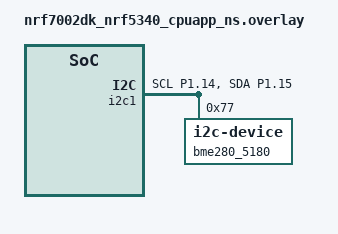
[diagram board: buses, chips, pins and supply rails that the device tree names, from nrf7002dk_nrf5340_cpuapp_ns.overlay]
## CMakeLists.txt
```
# SPDX-License-Identifier: Apache-2.0

cmake_minimum_required(VERSION 3.20.0)
find_package(Zephyr REQUIRED HINTS $ENV{ZEPHYR_BASE})
project(blinky)

target_sources(app PRIVATE
    src/main.c
    bme280/bme280.c
    bme280/bme280_logic.c
)

target_include_directories(app PRIVATE bme280)

if(CONFIG_SUM_PRINT)
    target_sources(app PRIVATE sum_printk/sum_printk.c)
    target_include_directories(app PRIVATE sum_printk)
elseif(CONFIG_SUM_LOG)
    target_sources(app PRIVATE sum_log/sum_log.c)
    target_include_directories(app PRIVATE sum_log)
endif()
```

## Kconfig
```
mainmenu "ESE5180 Lab 0"

choice
    prompt "Sum output method"
    default SUM_PRINT

config SUM_PRINT
    bool "Use printk for sum output"

config SUM_LOG
    bool "Use logger for sum output"

endchoice

source "Kconfig.zephyr"
```

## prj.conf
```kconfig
CONFIG_GPIO=y

CONFIG_CONSOLE=y
CONFIG_UART_CONSOLE=y
CONFIG_PRINTK=y

CONFIG_LOG=y
CONFIG_LOG_DEFAULT_LEVEL=3
CONFIG_SUM_LOG=y

CONFIG_SENSOR=y
CONFIG_I2C=y

# UARTE1 and TWIM1 share the SERIAL1 hardware instance on the nRF5340.
# Disable TF-M secure logging so the non-secure application can use TWIM1/I2C1.
CONFIG_TFM_LOG_LEVEL_SILENCE=y
```

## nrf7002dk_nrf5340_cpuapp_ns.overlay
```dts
/delete-node/ &boot_partition;
/delete-node/ &slot0_partition;
/delete-node/ &slot1_partition;

&flash0 {
	partitions {
		/* Primary image area, based at 0x0, sized to 960KB */
		slot0_partition: partition@0 {
			compatible = "zephyr,mapped-partition";
			label = "image-0";
			reg = <0x00000000 0xf0000>;
			ranges = <0x0 0x0 0xf0000>;
			#address-cells = <1>;
			#size-cells = <1>;

			slot0_s_partition: partition@0 {
				compatible = "zephyr,mapped-partition";
				label = "image-0-secure";
				reg = <0x00000000 0x40000>; /* 256 KB TF-M secure */
			};

			slot0_ns_partition: partition@40000 {
				compatible = "zephyr,mapped-partition";
				label = "image-0-nonsecure";
				reg = <0x00040000 0xb0000>; /* 704 KB non-secure app */
			};
		};
	};
};


/{
	aliases {
		led5180 = &led1;
		button5180 = &button0;
	};
};

&i2c1 {
        status = "okay";
        pinctrl-0 = <&i2c1_default>;
        pinctrl-1 = <&i2c1_sleep>;
        pinctrl-names = "default", "sleep";

        bme280_5180: bme280_5180@77 {
                compatible = "i2c-device";
                status = "okay";
                reg = <0x77>;
        };
};

&pinctrl {
        /omit-if-no-ref/ i2c1_default: i2c1_default {
                group1 {
                        psels = <NRF_PSEL(TWIM_SCL, 1, 14)>,
                                <NRF_PSEL(TWIM_SDA, 1, 15)>;
                };
        };

        /omit-if-no-ref/ i2c1_sleep: i2c1_sleep {
                group1 {
                        psels = <NRF_PSEL(TWIM_SCL, 1, 14)>,
                                <NRF_PSEL(TWIM_SDA, 1, 15)>;
                        low-power-enable;
                };
        };
};
```

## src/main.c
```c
/*
 * Copyright (c) 2016 Intel Corporation
 *
 * SPDX-License-Identifier: Apache-2.0
 */

#include <stdio.h>
#include <zephyr/kernel.h>
#include <zephyr/drivers/gpio.h>
#include <zephyr/drivers/i2c.h>

#include "bme280.h"

#ifdef CONFIG_SUM_PRINT
#include "sum_printk.h"
#elif defined(CONFIG_SUM_LOG)
#include "sum_log.h"
#endif

/* 1000 msec = 1 sec */
#define SLEEP_TIME_MS   2000
#define BUTTON_POLL_MS  50

/* The devicetree node identifier for the "led0" alias. */
#define LED5180_NODE DT_ALIAS(led5180)
#define BUTTON5180_NODE DT_ALIAS(button5180)

/*
 * A build error on this line means your board is unsupported.
 * See the sample documentation for information on how to fix this.
 */
static const struct gpio_dt_spec led = GPIO_DT_SPEC_GET(LED5180_NODE, gpios);
static const struct gpio_dt_spec button = GPIO_DT_SPEC_GET(BUTTON5180_NODE, gpios);

int main(void)
{
	int ret;
	bool button_was_pressed = false;
	int64_t next_sample_time;
	int32_t temperature_centi_c;

	int result = sum(10, 20);
	(void)result;

	if (!gpio_is_ready_dt(&led)) {
		printk("LED GPIO is not ready\n");
		return 0;
	}

	if (!gpio_is_ready_dt(&button)) {
		printk("Button GPIO is not ready\n");
		return 0;
	}

	ret = gpio_pin_configure_dt(&led, GPIO_OUTPUT_INACTIVE);
	if (ret < 0) {
		printk("Failed to configure LED: %d\n", ret);
		return 0;
	}

	ret = gpio_pin_configure_dt(&button, GPIO_INPUT);
	if (ret < 0) {
		printk("Failed to configure button: %d\n", ret);
		return 0;
	}

	ret = bme280_init();
	if (ret < 0) {
		printk("Failed to initialize BME280: %d\n", ret);
		return 0;
	}

	next_sample_time = k_uptime_get();

	while (1) {
		int button_pressed = gpio_pin_get_dt(&button);

		if (button_pressed < 0) {
			printk("Failed to read button: %d\n", button_pressed);
			return 0;
		}

		if (button_pressed && !button_was_pressed) {
			ret = gpio_pin_toggle_dt(&led);
			if (ret < 0) {
				printk("Failed to toggle LED: %d\n", ret);
				return 0;
			}
			printk("Button pressed: LED toggled\n");
		}
		button_was_pressed = button_pressed;

		if (k_uptime_get() >= next_sample_time) {
			ret = bme280_read_temperature(&temperature_centi_c);
			if (ret < 0) {
				printk("Failed to read BME280 temperature: %d\n", ret);
			} else {
				int32_t magnitude = temperature_centi_c < 0
					? -temperature_centi_c : temperature_centi_c;

				printk("Temperature: %s%d.%02d C\n",
				       temperature_centi_c < 0 ? "-" : "",
				       magnitude / 100, magnitude % 100);
			}
			next_sample_time += SLEEP_TIME_MS;
		}

		k_msleep(BUTTON_POLL_MS);
	}
	return 0;
}
```
